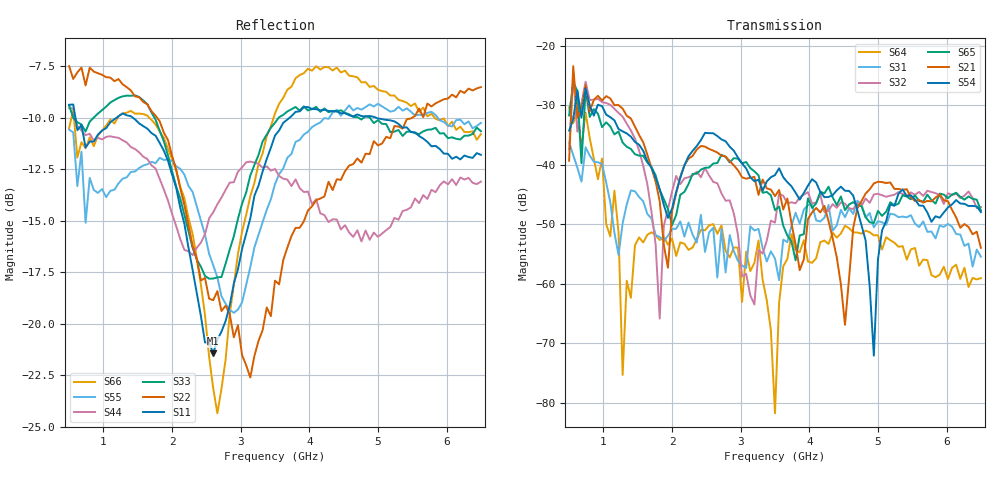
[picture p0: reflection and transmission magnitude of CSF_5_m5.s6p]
!Keysight Technologies,M9804A,MY58100912,A.14.10.03
!Date: Thursday, April 27, 2023 10:28:33
!Correction: S11(C  6-Port  )
!S12(C  6-Port  )
!S13(C  6-Port  )
!S14(C  6-Port  )
!S15(C  6-Port  )
!S16(C  6-Port  )
!S21(C  6-Port  )
!S22(C  6-Port  )
!S23(C  6-Port  )
!S24(C  6-Port  )
!S25(C  6-Port  )
!S26(C  6-Port  )
!S31(C  6-Port  )
!S32(C  6-Port  )
!S33(C  6-Port  )
!S34(C  6-Port  )
!S35(C  6-Port  )
!S36(C  6-Port  )
!S41(C  6-Port  )
!S42(C  6-Port  )
!S43(C  6-Port  )
!S44(C  6-Port  )
!S45(C  6-Port  )
!S46(C  6-Port  )
!S51(C  6-Port  )
!S52(C  6-Port  )
!S53(C  6-Port  )
!S54(C  6-Port  )
!S55(C  6-Port  )
!S56(C  6-Port  )
!S61(C  6-Port  )
!S62(C  6-Port  )
!S63(C  6-Port  )
!S64(C  6-Port  )
!S65(C  6-Port  )
!S66(C  6-Port  )
!S6P File: Measurement: :
# Hz S  RI  R 50
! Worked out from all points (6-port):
!   101 points, 500 MHz to 6.5 GHz, reference 50 ohm
!   strongest paths, dB at 500 MHz, 2 GHz, 3.5 GHz, 5 GHz, 6.5 GHz:
!     S54: -34.3, -47.4, -41.8, -56.0, -48.0
!     S21: -39.3, -47.9, -45.3, -42.9, -54.0
!     S65: -31.7, -50.2, -47.6, -47.8, -47.7
!     S32: -37.5, -44.5, -49.7, -44.9, -47.1
!     S31: -36.2, -50.8, -55.8, -49.5, -55.5
!     S64: -30.4, -52.4, -81.8, -51.9, -59.1
!   lowest |S11| = -21.4 dB at 2.6 GHz (marker M1), VSWR 1.19, Z = 42.5 + j2.17 ohm
!   |S11| at or under -10 dB: 590.9 MHz to 1.191 GHz (599.6 MHz wide, 67.3 % of centre); 1.429 GHz to 3.712 GHz (2.283 GHz wide, 88.8 % of centre); 4.973 GHz to end of sweep
